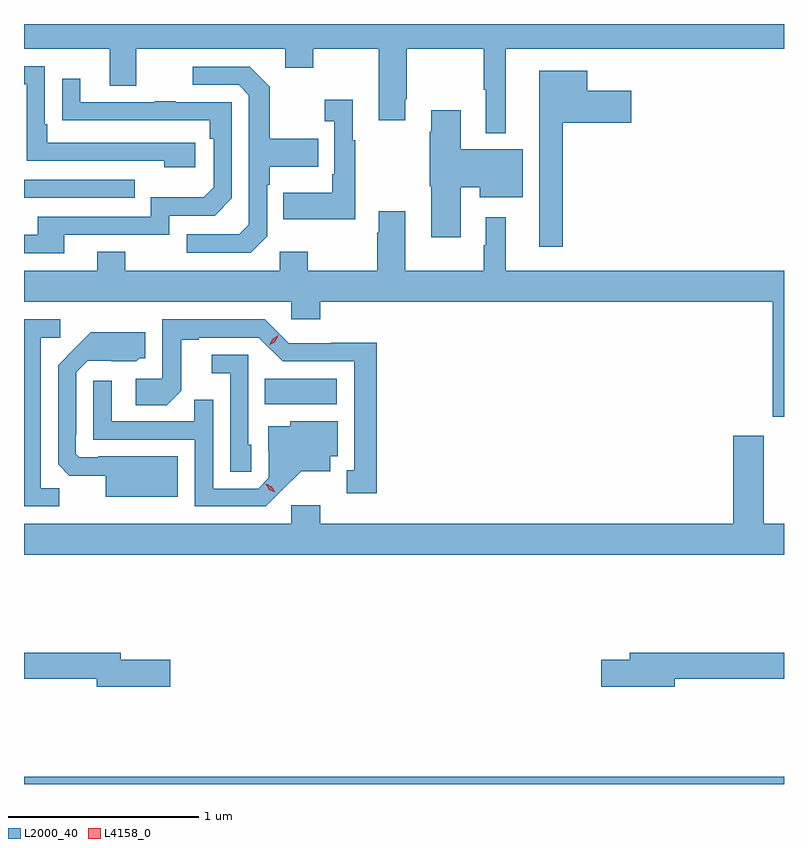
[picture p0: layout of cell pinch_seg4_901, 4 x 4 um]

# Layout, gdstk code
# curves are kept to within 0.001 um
import gdstk
lib = gdstk.Library(unit=1e-6, precision=1e-09)
def R(c, l, rs):  # rectangles x0, y0, x1, y1
    for r in rs: c.add(gdstk.rectangle(r[:2], r[2:], *l))
def P(c, l, *ps):  # polygons
    for p in ps: c.add(gdstk.Polygon(p, *l))
L2000_40 = (2000, 40)
L4158_0 = (4158, 0)

pinch_seg4_901 = lib.new_cell('pinch_seg4_901')
R(pinch_seg4_901, L2000_40, [(724.18,824.918,728.18,824.956), (725.446,826.916,725.827,827.05), (724.18,828.003,724.763,828.099)])
P(pinch_seg4_901, L2000_40, [(726.715,828.788),(728.18,828.788),(728.18,828.918),(724.18,828.918),(724.18,828.788),(724.631,828.788),(724.631,828.594),(724.771,828.594),(724.771,828.788),(725.555,828.788),(725.555,828.689),(725.703,828.689),(725.703,828.788),(726.047,828.788),(726.047,828.411),(726.187,828.411),(726.187,828.523),(726.195,828.523),(726.195,828.788),(726.601,828.788),(726.601,828.572),(726.611,828.572),(726.611,828.344),(726.715,828.344)],
  [(725.08,828.294),(724.303,828.294),(724.303,828.391),(724.29,828.391),(724.29,828.696),(724.18,828.696),(724.18,828.6),(724.194,828.6),(724.194,828.198),(724.919,828.198),(724.919,828.164),(725.08,828.164)],
  [(725.46,827.802),(725.46,828.071),(725.473,828.071),(725.473,828.167),(725.729,828.167),(725.729,828.315),(725.473,828.315),(725.473,828.587),(725.367,828.693),(725.067,828.693),(725.067,828.597),(725.31,828.597),(725.364,828.543),(725.364,827.862),(725.313,827.811),(725.037,827.811),(725.037,827.715),(725.373,827.715)],
  [(727.015,828.398),(727.375,828.398),(727.375,828.568),(727.144,828.568),(727.144,828.673),(726.893,828.673),(726.893,827.745),(727.015,827.745)],
  [(724.393,827.808),(724.944,827.808),(724.944,827.91),(725.184,827.91),(725.274,828),(725.274,828.507),(724.979,828.507),(724.979,828.512),(724.867,828.512),(724.867,828.507),(724.477,828.507),(724.477,828.631),(724.381,828.631),(724.381,828.412),(725.158,828.411),(725.158,828.314),(725.178,828.314),(725.178,828.06),(725.125,828.007),(724.848,828.007),(724.848,827.904),(724.253,827.904),(724.253,827.808),(724.18,827.808),(724.18,827.712),(724.393,827.712)],
  [(725.923,828.307),(725.911,828.307),(725.911,828.52),(725.763,828.52),(725.763,828.407),(725.814,828.407),(725.814,828.127),(725.802,828.127),(725.802,828.031),(725.545,828.031),(725.545,827.891),(725.923,827.891)],
  [(726.478,828.059),(726.578,828.059),(726.578,828.005),(726.805,828.005),(726.805,828.259),(726.478,828.259),(726.478,828.463),(726.323,828.463),(726.323,828.35),(726.316,828.35),(726.316,828.063),(726.323,828.063),(726.323,827.796),(726.478,827.796)],
  [(728.18,827.62),(726.715,827.62),(726.715,827.902),(726.611,827.902),(726.611,827.753),(726.601,827.753),(726.601,827.62),(726.187,827.62),(726.187,827.932),(726.047,827.932),(726.047,827.819),(726.04,827.819),(726.04,827.62),(725.673,827.62),(725.673,827.719),(725.526,827.719),(725.526,827.62),(724.713,827.62),(724.713,827.719),(724.565,827.719),(724.565,827.62),(724.18,827.62),(724.18,827.456),(725.586,827.456),(725.586,827.363),(725.738,827.363),(725.738,827.456),(728.12,827.456),(728.12,826.85),(728.18,826.85)],
  [(724.365,826.475),(724.269,826.475),(724.269,827.268),(724.372,827.268),(724.372,827.364),(724.18,827.364),(724.18,826.38),(724.365,826.38)],
  [(726.037,827.24),(725.796,827.24),(725.796,827.238),(725.574,827.238),(725.448,827.364),(724.908,827.364),(724.908,827.052),(724.767,827.052),(724.767,826.912),(724.931,826.912),(725.007,826.988),(725.007,827.256),(725.101,827.256),(725.101,827.268),(725.415,827.268),(725.541,827.142),(725.918,827.142),(725.918,826.569),(725.879,826.569),(725.879,826.449),(726.037,826.449)],
  [(724.99,826.642),(724.57,826.642),(724.57,826.638),(724.47,826.638),(724.452,826.656),(724.452,826.756),(724.455,826.756),(724.455,827.085),(724.515,827.145),(724.772,827.144),(724.788,827.16),(724.819,827.16),(724.819,827.296),(724.531,827.296),(724.359,827.122),(724.359,826.6),(724.418,826.541),(724.61,826.541),(724.61,826.43),(724.99,826.43)],
  [(725.376,826.704),(725.361,826.704),(725.361,827.178),(725.169,827.178),(725.169,827.081),(725.265,827.081),(725.265,826.561),(725.376,826.561)],
  [(725.536,826.463),(725.639,826.565),(725.791,826.565),(725.791,826.644),(725.83,826.644),(725.83,826.828),(725.58,826.828),(725.58,826.801),(725.465,826.801),(725.465,826.672),(725.469,826.672),(725.469,826.53),(725.412,826.473),(725.175,826.473),(725.175,826.94),(725.077,826.94),(725.077,826.827),(724.641,826.827),(724.641,827.041),(724.545,827.041),(724.545,826.731),(725.079,826.731),(725.079,826.38),(725.452,826.38)],
  [(728.18,826.288),(728.073,826.288),(728.073,826.75),(727.913,826.75),(727.913,826.288),(725.738,826.288),(725.738,826.384),(725.586,826.384),(725.586,826.288),(724.18,826.288),(724.18,826.124),(728.18,826.124)],
  [(724.951,825.572),(724.69,825.572),(724.69,825.608),(724.18,825.608),(724.18,825.472),(724.562,825.472),(724.562,825.43),(724.951,825.43)],
  [(727.606,825.472),(728.18,825.472),(728.18,825.608),(727.367,825.608),(727.367,825.572),(727.218,825.572),(727.218,825.43),(727.606,825.43)])
P(pinch_seg4_901, L4158_0, [(725.47,827.227),(725.47,827.227),(725.487,827.26),(725.518,827.279),(725.519,827.279),(725.519,827.279),(725.502,827.246),(725.47,827.227)],
  [(725.502,826.454),(725.471,826.468),(725.453,826.497),(725.453,826.497),(725.454,826.497),(725.484,826.483),(725.502,826.454),(725.502,826.454)])

lib.write_gds('pinch_seg4_901.gds')
